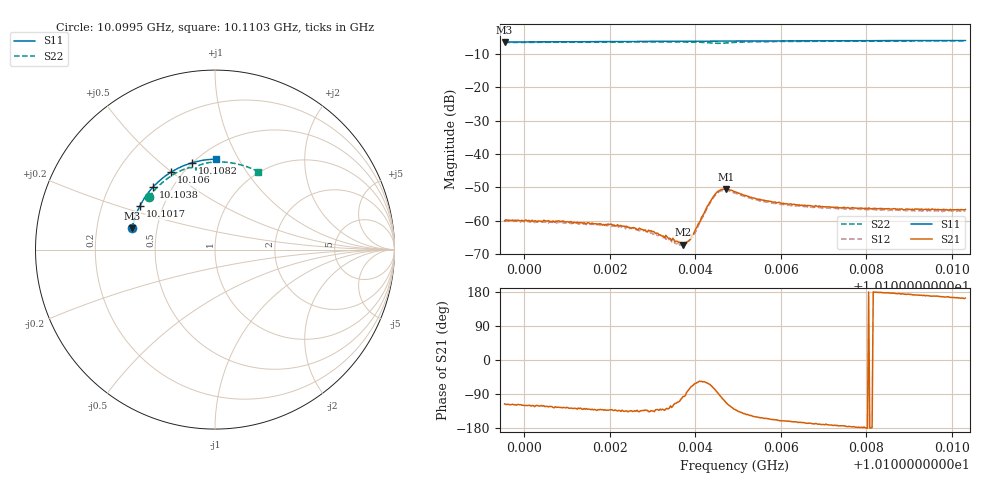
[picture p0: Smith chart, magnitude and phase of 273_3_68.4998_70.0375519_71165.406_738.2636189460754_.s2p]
#  HZ  S  RI  R  50.00
! Rohde & Schwarz Vector Network Analyzer
! Rohde-Schwarz,ZNB20-2Port,1311601062101988,3.16
! Created: UTC 3/20/2024, 5:00:51 PM
! freq[Hz]  re:S11  im:S11  re:S21  im:S21  re:S12  im:S12  re:S22  im:S22
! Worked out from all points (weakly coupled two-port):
!   401 points, 10.0995 GHz to 10.1103 GHz, reference 50 ohm
!   highest |S21| = -50.44 dB at 10.1047 GHz (marker M1); lowest = -67.1 dB at 10.1037 GHz (marker M2)
!   lowest |S11| = -6.4 dB at 10.0995 GHz (marker M3), VSWR 2.82, Z = 18 + j5.5 ohm
!   |S11| at or under -10 dB: nowhere
!   |S22| runs from -6.8 to -6.1 dB; largest |S21 - S12| = 0.00031
!   S11 on the Smith chart (normalised r, x): 10.0995 GHz: 0.36, +0.11; 10.1017 GHz: 0.37, +0.23; 10.1038 GHz: 0.39, +0.36; 10.106 GHz: 0.43, +0.50; 10.1082 GHz: 0.50, +0.65; 10.1103 GHz: 0.60, +0.81
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1.009954e10  -0.4619 0.1184  -0.000439 -0.000906  -0.000382 -0.00091  -0.368 0.2918
1.010051e10  -0.4468 0.1754  -0.000531 -0.00084  -0.000453 -0.000835  -0.3282 0.3401
1.010134e10  -0.4284 0.2228  -0.000596 -0.000728  -0.000518 -0.000757  -0.289 0.3773
1.010169e10  -0.4193 0.2419  -0.000617 -0.00066  -0.000512 -0.000708  -0.2712 0.3916
1.010234e10  -0.4 0.2763  -0.000593 -0.000579  -0.000524 -0.000622  -0.2364 0.4153
1.010296e10  -0.3788 0.3075  -0.000495 -0.000514  -0.000425 -0.0005  -0.2005 0.4354
1.010315e10  -0.3721 0.3167  -0.000424 -0.000454  -0.000368 -0.000498  -0.1889 0.4408
1.010358e10  -0.3554 0.3369  -0.000179 -0.000459  -0.000151 -0.000432  -0.1609 0.4515
1.010371e10  -0.35 0.3431  -4.66e-05 -0.000438  -3.59e-05 -0.000416  -0.1516 0.4541
1.010385e10  -0.3446 0.3491  0.000106 -0.000492  0.000166 -0.000469  -0.1418 0.4563
1.010398e10  -0.339 0.3551  0.000319 -0.000614  0.000319 -0.000559  -0.1317 0.4574
1.010428e10  -0.3262 0.3678  0.000805 -0.00145  0.000897 -0.0013  -0.1099 0.4529
1.010444e10  -0.3194 0.3744  0.000589 -0.00232  0.000762 -0.00217  -0.1041 0.4457
1.010455e10  -0.3144 0.3787  -9.86e-06 -0.00282  0.000232 -0.00269  -0.1055 0.4433
1.010471e10  -0.3072 0.3852  -0.0011 -0.0028  -0.000815 -0.00276  -0.1075 0.4486
1.010493e10  -0.2973 0.3937  -0.00176 -0.00207  -0.00152 -0.00213  -0.1003 0.461
1.010541e10  -0.2741 0.412  -0.00185 -0.00109  -0.0017 -0.00119  -0.0687 0.4773
1.0106e10  -0.2443 0.4318  -0.00172 -0.000628  -0.00157 -0.000775  -0.0286 0.4854
1.010673e10  -0.2059 0.4531  -0.00163 -0.00034  -0.00153 -0.000495  0.0192 0.4885
1.010816e10  -0.1254 0.4847  -0.00153 8.84e-06  -0.00148 -0.000143  0.1108 0.4798
1.010853e10  -0.1034 0.4905  -0.00151 8.85e-05  -0.00144 -5.49e-05  0.1343 0.4747
1.011031e10  0.00313 0.5038  -0.00142 0.000423  -0.00139 0.000272  0.2399 0.4346
